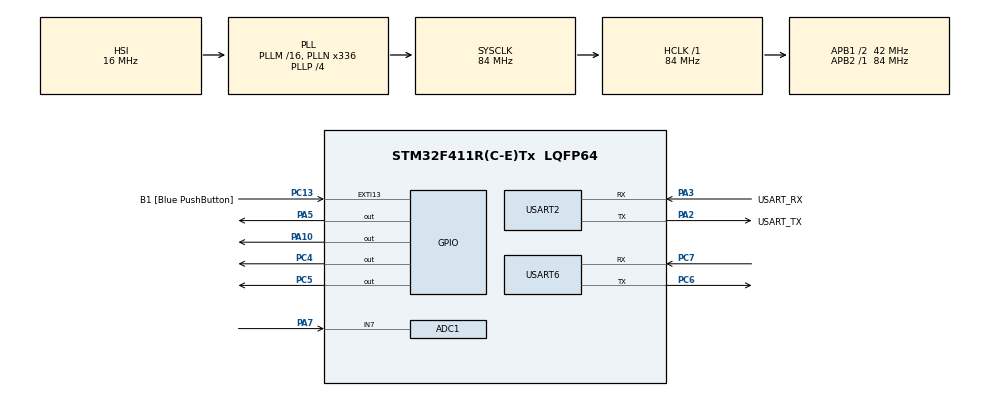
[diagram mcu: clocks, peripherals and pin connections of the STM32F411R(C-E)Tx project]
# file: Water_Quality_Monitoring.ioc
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ADC1.Channel-1\#ChannelRegularConversion=ADC_CHANNEL_7
ADC1.ContinuousConvMode=DISABLE
ADC1.NbrOfConversionFlag=1
ADC1.Rank-1\#ChannelRegularConversion=1
ADC1.SamplingTime-1\#ChannelRegularConversion=ADC_SAMPLETIME_3CYCLES
ADC1.master=1
FREERTOS.Tasks01=defaultTask,0,128,StartDefaultTask,Default,NULL,Dynamic,NULL,NULL
Mcu.Family=STM32F4
Mcu.Name=STM32F411R(C-E)Tx
Mcu.Package=LQFP64
NVIC.PriorityGroup=NVIC_PRIORITYGROUP_4
PA10.Signal=GPIO_Output
PA13.GPIO_Label=TMS
PA13.Mode=Serial_Wire
PA13.Signal=SYS_JTMS-SWDIO
PA14.GPIO_Label=TCK
PA14.Mode=Serial_Wire
PA14.Signal=SYS_JTCK-SWCLK
PA2.GPIO_Label=USART_TX
PA2.Mode=Asynchronous
PA2.Signal=USART2_TX
PA3.GPIO_Label=USART_RX
PA3.Mode=Asynchronous
PA3.Signal=USART2_RX
PA5.Signal=GPIO_Output
PA7.Signal=ADCx_IN7
PB3.GPIO_Label=SWO
PB3.Signal=SYS_JTDO-SWO
PC13-ANTI_TAMP.GPIO_Label=B1 [Blue PushButton]
PC13-ANTI_TAMP.GPIO_ModeDefaultEXTI=GPIO_MODE_IT_FALLING
PC13-ANTI_TAMP.Signal=GPXTI13
PC14-OSC32_IN.Mode=LSE-External-Oscillator
PC14-OSC32_IN.Signal=RCC_OSC32_IN
PC15-OSC32_OUT.Mode=LSE-External-Oscillator
PC15-OSC32_OUT.Signal=RCC_OSC32_OUT
PC4.Signal=GPIO_Output
PC5.Signal=GPIO_Output
PC6.Mode=Asynchronous
PC6.Signal=USART6_TX
PC7.Mode=Asynchronous
PC7.Signal=USART6_RX
PH0\ -\ OSC_IN.Mode=HSE-External-Clock-Source
PH0\ -\ OSC_IN.Signal=RCC_OSC_IN
PH1\ -\ OSC_OUT.Mode=HSE-External-Clock-Source
PH1\ -\ OSC_OUT.Signal=RCC_OSC_OUT
ProjectManager.HeapSize=0x200
ProjectManager.StackSize=0x400
ProjectManager.TargetToolchain=STM32CubeIDE
RCC.48MHZClocksFreq_Value=84000000
RCC.AHBFreq_Value=84000000
RCC.APB1CLKDivider=RCC_HCLK_DIV2
RCC.APB1Freq_Value=42000000
RCC.APB1TimFreq_Value=84000000
RCC.APB2Freq_Value=84000000
RCC.APB2TimFreq_Value=84000000
RCC.CortexFreq_Value=84000000
RCC.FLatency-AdvancedSettings=FLASH_LATENCY_2
RCC.HCLKFreq_Value=84000000
RCC.HSE_VALUE=8000000
RCC.HSI_VALUE=16000000
RCC.PLLN=336
RCC.PLLP=RCC_PLLP_DIV4
RCC.SYSCLKFreq_VALUE=84000000
RCC.SYSCLKSource=RCC_SYSCLKSOURCE_PLLCLK
RCC.VCOOutputFreq_Value=336000000
SH.ADCx_IN7.0=ADC1_IN7,IN7
USART2.VirtualMode=VM_ASYNC
USART6.VirtualMode=VM_ASYNC
VP_FREERTOS_VS_CMSIS_V1.Mode=CMSIS_V1
board=NUCLEO-F411RE

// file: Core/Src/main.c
/* USER CODE BEGIN Header */
/**
  ******************************************************************************
  * @file           : main.c
  * @brief          : Main program body
  ******************************************************************************
  * @attention
  *
  * Copyright (c) 2025 STMicroelectronics.
  * All rights reserved.
  *
  * This software is licensed under terms that can be found in the LICENSE file
  * in the root directory of this software component.
  * If no LICENSE file comes with this software, it is provided AS-IS.
  *
  ******************************************************************************
  */
/* USER CODE END Header */
#include "main.h"
#include "cmsis_os.h"

ADC_HandleTypeDef hadc1;

UART_HandleTypeDef huart2;
UART_HandleTypeDef huart6;

osThreadId defaultTaskHandle;

void SystemClock_Config(void);
static void MX_GPIO_Init(void);
static void MX_USART2_UART_Init(void);
static void MX_USART6_UART_Init(void);
static void MX_ADC1_Init(void);
void StartDefaultTask(void const * argument);

int main(void)
{

  /* MCU Configuration--------------------------------------------------------*/

  /* Reset of all peripherals, Initializes the Flash interface and the Systick. */
  HAL_Init();

  /* Configure the system clock */
  SystemClock_Config();

  /* Initialize all configured peripherals */
  MX_GPIO_Init();
  MX_USART2_UART_Init();
  MX_USART6_UART_Init();
  MX_ADC1_Init();

  /* Create the thread(s) */
  /* definition and creation of defaultTask */
  osThreadDef(defaultTask, StartDefaultTask, osPriorityNormal, 0, 128);
  defaultTaskHandle = osThreadCreate(osThread(defaultTask), NULL);

  /* Start scheduler */
  osKernelStart();

  /* We should never get here as control is now taken by the scheduler */

  /* Infinite loop */
  while (1)
  {

  }
}

void SystemClock_Config(void)
{
  RCC_OscInitTypeDef RCC_OscInitStruct = {0};
  RCC_ClkInitTypeDef RCC_ClkInitStruct = {0};

  /** Configure the main internal regulator output voltage
  */
  __HAL_RCC_PWR_CLK_ENABLE();
  __HAL_PWR_VOLTAGESCALING_CONFIG(PWR_REGULATOR_VOLTAGE_SCALE1);

  /** Initializes the RCC Oscillators according to the specified parameters
  * in the RCC_OscInitTypeDef structure.
  */
  RCC_OscInitStruct.OscillatorType = RCC_OSCILLATORTYPE_HSI;
  RCC_OscInitStruct.HSIState = RCC_HSI_ON;
  RCC_OscInitStruct.HSICalibrationValue = RCC_HSICALIBRATION_DEFAULT;
  RCC_OscInitStruct.PLL.PLLState = RCC_PLL_ON;
  RCC_OscInitStruct.PLL.PLLSource = RCC_PLLSOURCE_HSI;
  RCC_OscInitStruct.PLL.PLLM = 16;
  RCC_OscInitStruct.PLL.PLLN = 336;
  RCC_OscInitStruct.PLL.PLLP = RCC_PLLP_DIV4;
  RCC_OscInitStruct.PLL.PLLQ = 4;
  if (HAL_RCC_OscConfig(&RCC_OscInitStruct) != HAL_OK)
  {
    Error_Handler();
  }

  /** Initializes the CPU, AHB and APB buses clocks
  */
  RCC_ClkInitStruct.ClockType = RCC_CLOCKTYPE_HCLK|RCC_CLOCKTYPE_SYSCLK
                              |RCC_CLOCKTYPE_PCLK1|RCC_CLOCKTYPE_PCLK2;
  RCC_ClkInitStruct.SYSCLKSource = RCC_SYSCLKSOURCE_PLLCLK;
  RCC_ClkInitStruct.AHBCLKDivider = RCC_SYSCLK_DIV1;
  RCC_ClkInitStruct.APB1CLKDivider = RCC_HCLK_DIV2;
  RCC_ClkInitStruct.APB2CLKDivider = RCC_HCLK_DIV1;

  if (HAL_RCC_ClockConfig(&RCC_ClkInitStruct, FLASH_LATENCY_2) != HAL_OK)
  {
    Error_Handler();
  }
}

static void MX_ADC1_Init(void)
{

  ADC_ChannelConfTypeDef sConfig = {0};

  /** Configure the global features of the ADC (Clock, Resolution, Data Alignment and number of conversion)
  */
  hadc1.Instance = ADC1;
  hadc1.Init.ClockPrescaler = ADC_CLOCK_SYNC_PCLK_DIV4;
  hadc1.Init.Resolution = ADC_RESOLUTION_12B;
  hadc1.Init.ScanConvMode = DISABLE;
  hadc1.Init.ContinuousConvMode = DISABLE;
  hadc1.Init.DiscontinuousConvMode = DISABLE;
  hadc1.Init.ExternalTrigConvEdge = ADC_EXTERNALTRIGCONVEDGE_NONE;
  hadc1.Init.ExternalTrigConv = ADC_SOFTWARE_START;
  hadc1.Init.DataAlign = ADC_DATAALIGN_RIGHT;
  hadc1.Init.NbrOfConversion = 1;
  hadc1.Init.DMAContinuousRequests = DISABLE;
  hadc1.Init.EOCSelection = ADC_EOC_SINGLE_CONV;
  if (HAL_ADC_Init(&hadc1) != HAL_OK)
  {
    Error_Handler();
  }

  /** Configure for the selected ADC regular channel its corresponding rank in the sequencer and its sample time.
  */
  sConfig.Channel = ADC_CHANNEL_7;
  sConfig.Rank = 1;
  sConfig.SamplingTime = ADC_SAMPLETIME_3CYCLES;
  if (HAL_ADC_ConfigChannel(&hadc1, &sConfig) != HAL_OK)
  {
    Error_Handler();
  }

}

static void MX_USART2_UART_Init(void)
{

  huart2.Instance = USART2;
  huart2.Init.BaudRate = 115200;
  huart2.Init.WordLength = UART_WORDLENGTH_8B;
  huart2.Init.StopBits = UART_STOPBITS_1;
  huart2.Init.Parity = UART_PARITY_NONE;
  huart2.Init.Mode = UART_MODE_TX_RX;
  huart2.Init.HwFlowCtl = UART_HWCONTROL_NONE;
  huart2.Init.OverSampling = UART_OVERSAMPLING_16;
  if (HAL_UART_Init(&huart2) != HAL_OK)
  {
    Error_Handler();
  }

}

static void MX_USART6_UART_Init(void)
{

  huart6.Instance = USART6;
  huart6.Init.BaudRate = 115200;
  huart6.Init.WordLength = UART_WORDLENGTH_8B;
  huart6.Init.StopBits = UART_STOPBITS_1;
  huart6.Init.Parity = UART_PARITY_NONE;
  huart6.Init.Mode = UART_MODE_TX_RX;
  huart6.Init.HwFlowCtl = UART_HWCONTROL_NONE;
  huart6.Init.OverSampling = UART_OVERSAMPLING_16;
  if (HAL_UART_Init(&huart6) != HAL_OK)
  {
    Error_Handler();
  }

}

static void MX_GPIO_Init(void)
{
  GPIO_InitTypeDef GPIO_InitStruct = {0};

  /* GPIO Ports Clock Enable */
  __HAL_RCC_GPIOC_CLK_ENABLE();
  __HAL_RCC_GPIOH_CLK_ENABLE();
  __HAL_RCC_GPIOA_CLK_ENABLE();
  __HAL_RCC_GPIOB_CLK_ENABLE();

  /*Configure GPIO pin Output Level */
  HAL_GPIO_WritePin(GPIOA, GPIO_PIN_5, GPIO_PIN_RESET);
  HAL_GPIO_WritePin(GPIOA, GPIO_PIN_10, GPIO_PIN_SET);

  /*Configure GPIO pin Output Level */
  HAL_GPIO_WritePin(GPIOC, GPIO_PIN_4|GPIO_PIN_5, GPIO_PIN_SET);

  /*Configure GPIO pin : B1_Pin */
  GPIO_InitStruct.Pin = B1_Pin;
  GPIO_InitStruct.Mode = GPIO_MODE_IT_FALLING;
  GPIO_InitStruct.Pull = GPIO_NOPULL;
  HAL_GPIO_Init(B1_GPIO_Port, &GPIO_InitStruct);

  /*Configure GPIO pins : PA5 PA10 */
  GPIO_InitStruct.Pin = GPIO_PIN_5|GPIO_PIN_10;
  GPIO_InitStruct.Mode = GPIO_MODE_OUTPUT_PP;
  GPIO_InitStruct.Pull = GPIO_NOPULL;
  GPIO_InitStruct.Speed = GPIO_SPEED_FREQ_LOW;
  HAL_GPIO_Init(GPIOA, &GPIO_InitStruct);

  /*Configure GPIO pins : PC4 PC5 */
  GPIO_InitStruct.Pin = GPIO_PIN_4|GPIO_PIN_5;
  GPIO_InitStruct.Mode = GPIO_MODE_OUTPUT_PP;
  GPIO_InitStruct.Pull = GPIO_NOPULL;
  GPIO_InitStruct.Speed = GPIO_SPEED_FREQ_LOW;
  HAL_GPIO_Init(GPIOC, &GPIO_InitStruct);

}

//void StartDefaultTask(void const * argument)
//{
//  /* USER CODE BEGIN 5 */
//////  /* Infinite loop */
//////  for(;;)
//////  {
//////    osDelay(1);
//////  }
//  /* USER CODE END 5 */
//}

void Error_Handler(void)
{
  __disable_irq();
  while (1)
  {
  }
}

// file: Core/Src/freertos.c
/* USER CODE BEGIN Header */
/**
  ******************************************************************************
  * File Name          : freertos.c
  * Description        : Code for freertos applications
  ******************************************************************************
  */
/* USER CODE END Header */

#include "FreeRTOS.h"
#include "task.h"
#include "main.h"

/* USER CODE BEGIN Includes */
#include <string.h>
#include <stdio.h>
#include "stm32f4xx_hal_adc.h"

extern UART_HandleTypeDef huart6;
extern UART_HandleTypeDef huart2;
extern ADC_HandleTypeDef hadc1;
/* USER CODE END Includes */

/* GetIdleTaskMemory prototype (linked to static allocation support) */
void vApplicationGetIdleTaskMemory( StaticTask_t **ppxIdleTaskTCBBuffer, StackType_t **ppxIdleTaskStackBuffer, uint32_t *pulIdleTaskStackSize );

/* USER CODE BEGIN GET_IDLE_TASK_MEMORY */
static StaticTask_t xIdleTaskTCBBuffer;
static StackType_t xIdleStack[configMINIMAL_STACK_SIZE];

void vApplicationGetIdleTaskMemory( StaticTask_t **ppxIdleTaskTCBBuffer, StackType_t **ppxIdleTaskStackBuffer, uint32_t *pulIdleTaskStackSize )
{
  *ppxIdleTaskTCBBuffer = &xIdleTaskTCBBuffer;
  *ppxIdleTaskStackBuffer = &xIdleStack[0];
  *pulIdleTaskStackSize = configMINIMAL_STACK_SIZE;
}
/* USER CODE END GET_IDLE_TASK_MEMORY */

/* USER CODE BEGIN Application */
static void PumpCycleOnce(void){
  HAL_UART_Transmit(&huart2, (uint8_t*)"Turning On Pumps\r\n", strlen("Turning On Pumps\r\n"), HAL_MAX_DELAY);

  HAL_GPIO_WritePin(GPIOC, GPIO_PIN_5, GPIO_PIN_RESET); //ON Pump 1 (active low)
  HAL_GPIO_WritePin(GPIOC, GPIO_PIN_4, GPIO_PIN_RESET); //ON Pump 2 (active low)
  HAL_GPIO_WritePin(GPIOA, GPIO_PIN_10, GPIO_PIN_RESET); //ON Pump3 (active high)

  vTaskDelay(pdMS_TO_TICKS(3000)); //delay 3s for now

  HAL_GPIO_WritePin(GPIOC, GPIO_PIN_5, GPIO_PIN_SET); //OFF Pump 1 (active low)
  HAL_GPIO_WritePin(GPIOC, GPIO_PIN_4, GPIO_PIN_SET); //OFF Pump 2 (active low)
  HAL_GPIO_WritePin(GPIOA, GPIO_PIN_10, GPIO_PIN_SET); //OFF Pump3 (active high)

  HAL_UART_Transmit(&huart2, (uint8_t*)"Done with Pumps\r\n", strlen("Done with Pumps\r\n"), HAL_MAX_DELAY);
}

static void phSensor_Main(void){
  char msg[64];
  uint32_t adc_val = 0;

  HAL_ADC_Start(&hadc1);
  HAL_ADC_PollForConversion(&hadc1, HAL_MAX_DELAY);
  adc_val = HAL_ADC_GetValue(&hadc1);

  // Optional: convert to voltage: V = (adc_val / 4095.0) * 3.3

  snprintf(msg, sizeof(msg), "pH ADC Raw: %lu\r\n", adc_val);
  HAL_UART_Transmit(&huart2, (uint8_t*)msg, strlen(msg), HAL_MAX_DELAY); //Change to huart6
}

static void doSensor_Main(void) {
  char msg[64];
  uint32_t adc_val = 0;
  uint32_t millivolts = 0;

  // Switch ADC channel to A5 (ADC_CHANNEL_5)
  ADC_ChannelConfTypeDef sConfig = {0};
  sConfig.Channel = ADC_CHANNEL_5;
  sConfig.Rank = 1;
  sConfig.SamplingTime = ADC_SAMPLETIME_3CYCLES;
  HAL_ADC_ConfigChannel(&hadc1, &sConfig);

  // Read raw ADC value
  HAL_ADC_Start(&hadc1);
  HAL_ADC_PollForConversion(&hadc1, HAL_MAX_DELAY);
  adc_val = HAL_ADC_GetValue(&hadc1);

  // Convert to millivolts: (adc_val / 4095) * 3300
  millivolts = (adc_val * 3300) / 4095;

  //some error
//  snprintf(msg, sizeof(msg), "DO Raw: %lu | DO Voltage: %lu mV", adc_val, do_millisvolts);
//  HAL_UART_Transmit(&huart2, (uint8_t*)msg, strlen(msg), HAL_MAX_DELAY);

  snprintf(msg, sizeof(msg), "DO Raw: %lu | \t", adc_val);
  HAL_UART_Transmit(&huart2, (uint8_t*)msg, strlen(msg), HAL_MAX_DELAY);

  snprintf(msg, sizeof(msg), "DO Voltage: %lu mV\r\n", millivolts);
  HAL_UART_Transmit(&huart2, (uint8_t*)msg, strlen(msg), HAL_MAX_DELAY);

}

void StartDefaultTask(void *argument){

  HAL_UART_Transmit(&huart2, (uint8_t*)"System Start\r\n", strlen("System Start\r\n"), HAL_MAX_DELAY); //Change to huart6

  PumpCycleOnce();

  for(;;)
  {
    phSensor_Main();
    vTaskDelay(pdMS_TO_TICKS(1000));
    doSensor_Main();
    vTaskDelay(pdMS_TO_TICKS(1000));
  }
}

/* USER CODE END Application */
